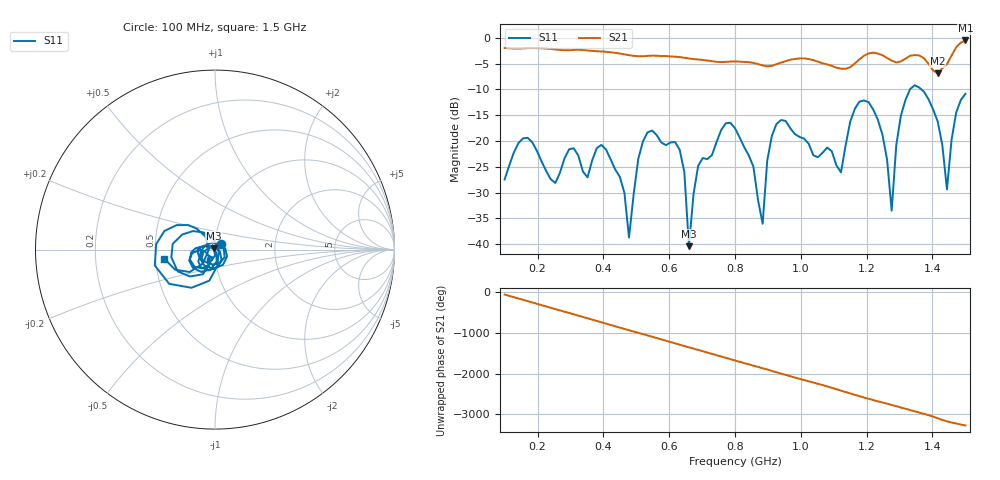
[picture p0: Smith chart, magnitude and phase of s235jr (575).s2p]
! NanoVNA-App
! Date: 2025-09-25 15:08:38
! Start: 100MHz Stop: 1,5GHz Points: 101
! S-Parameter data: F S11 S21 S12 S22
# Hz S RI R 50
!  Frequency  S11_Real  S11_Imag  S21_Real  S21_Imag  S12_Real  S12_Imag  S22_Real  S22_Imag
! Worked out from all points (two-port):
!   101 points, 100 MHz to 1.5 GHz, reference 50 ohm
!   highest |S21| = -0.52 dB at 1.5 GHz (marker M1); lowest = -6.9 dB at 1.416 GHz (marker M2)
!   |S21| within 3 dB of the highest: start of sweep to 494.5 MHz; 1.191 GHz to 1.252 GHz (60.48 MHz wide, 4.95 % of centre) (the widest 2 of 5)
!   lowest |S11| = -40.4 dB at 660 MHz (marker M3), VSWR 1.02, Z = 49.3 + j0.609 ohm
!   |S11| at or under -10 dB: start of sweep to 1.332 GHz; 1.366 GHz to end of sweep
!   S12 and S22 are empty: the file has one direction only
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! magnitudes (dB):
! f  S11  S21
! 100 MHz  -27.5  -2.0
! 170 MHz  -19.4  -2.0
! 338 MHz  -25.9  -2.4
! 408 MHz  -21.6  -2.7
! 478 MHz  -38.7  -3.4
! 520 MHz  -20.1  -3.6
! 576 MHz  -20.3  -3.6
! 632 MHz  -21.7  -3.7
! 660 MHz  -40.4  -4.0
! 688 MHz  -24.8  -4.2
! 800 MHz  -17.5  -4.6
! 884 MHz  -36.0  -5.4
! 926 MHz  -16.7  -5.1
! 1.038 GHz  -22.8  -4.3
! 1.122 GHz  -26.1  -6.0
! 1.206 GHz  -12.5  -3.0
! 1.276 GHz  -33.5  -4.4
! 1.29 GHz  -20.8  -4.8
! 1.332 GHz  -9.9  -3.5
! 1.416 GHz  -16.2  -6.9
! 1.444 GHz  -29.4  -5.1
! 1.5 GHz  -10.9  -0.5
